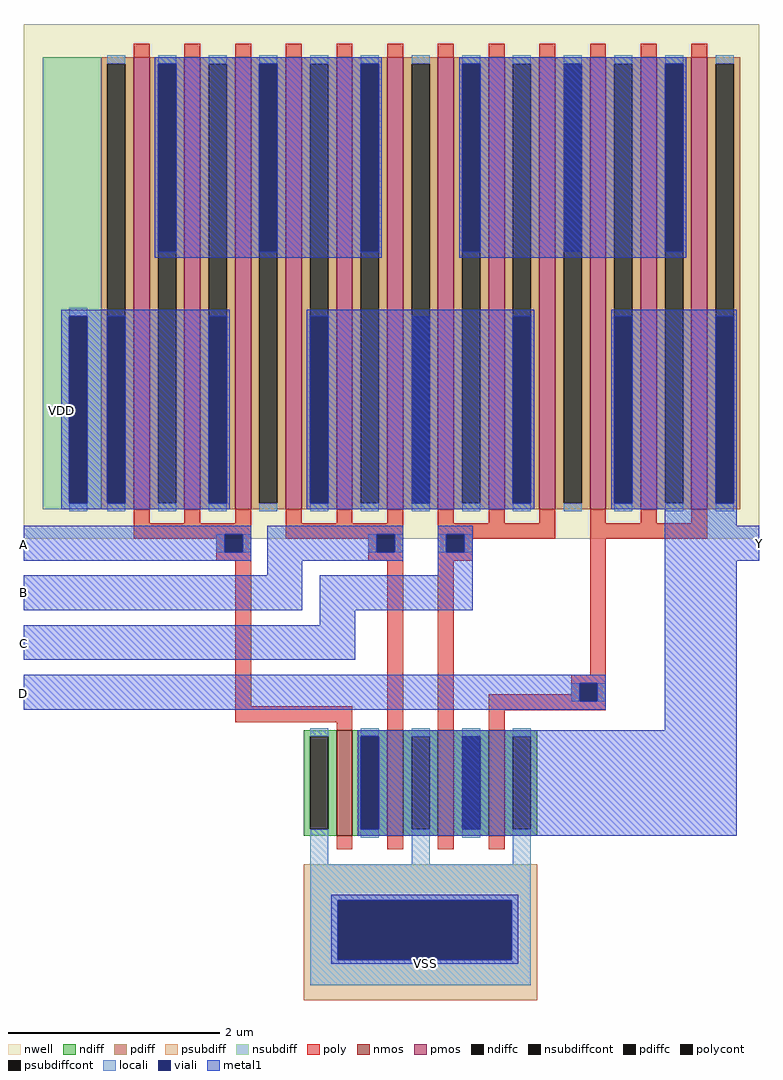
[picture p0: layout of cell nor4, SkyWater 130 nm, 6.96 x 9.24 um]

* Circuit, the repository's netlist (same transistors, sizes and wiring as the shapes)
* NGSPICE file created from nor4.ext - technology: sky130B

.subckt sky130_fd_pr__pfet_01v8_64A2S3 a_n33_n428# a_447_n428# a_n605_n428# a_321_n484#
+ a_n543_n484# a_543_n428# a_159_n428# a_33_n484# a_n255_n484# a_255_n428# w_n641_n484#
+ a_351_n428# a_n417_n428# a_n513_n428# a_n129_n428# a_63_n428# a_n225_n428# a_n321_n428#
X0 a_447_n428# a_321_n484# a_351_n428# w_n641_n484# sky130_fd_pr__pfet_01v8 ad=0.7062 pd=4.61 as=0.7062 ps=4.61 w=4.28 l=0.15
X1 a_n513_n428# a_n543_n484# a_n605_n428# w_n641_n484# sky130_fd_pr__pfet_01v8 ad=0.7062 pd=4.61 as=1.3268 ps=9.18 w=4.28 l=0.15
X2 a_63_n428# a_33_n484# a_n33_n428# w_n641_n484# sky130_fd_pr__pfet_01v8 ad=0.7062 pd=4.61 as=0.7062 ps=4.61 w=4.28 l=0.15
X3 a_n129_n428# a_n255_n484# a_n225_n428# w_n641_n484# sky130_fd_pr__pfet_01v8 ad=0.7062 pd=4.61 as=0.7062 ps=4.61 w=4.28 l=0.15
X4 a_n417_n428# a_n543_n484# a_n513_n428# w_n641_n484# sky130_fd_pr__pfet_01v8 ad=0.7062 pd=4.61 as=0.7062 ps=4.61 w=4.28 l=0.15
X5 a_n33_n428# a_n255_n484# a_n129_n428# w_n641_n484# sky130_fd_pr__pfet_01v8 ad=0.7062 pd=4.61 as=0.7062 ps=4.61 w=4.28 l=0.15
X6 a_351_n428# a_321_n484# a_255_n428# w_n641_n484# sky130_fd_pr__pfet_01v8 ad=0.7062 pd=4.61 as=0.7062 ps=4.61 w=4.28 l=0.15
X7 a_255_n428# a_33_n484# a_159_n428# w_n641_n484# sky130_fd_pr__pfet_01v8 ad=0.7062 pd=4.61 as=0.7062 ps=4.61 w=4.28 l=0.15
X8 a_n321_n428# a_n543_n484# a_n417_n428# w_n641_n484# sky130_fd_pr__pfet_01v8 ad=0.7062 pd=4.61 as=0.7062 ps=4.61 w=4.28 l=0.15
X9 a_543_n428# a_321_n484# a_447_n428# w_n641_n484# sky130_fd_pr__pfet_01v8 ad=1.3268 pd=9.18 as=0.7062 ps=4.61 w=4.28 l=0.15
X10 a_159_n428# a_33_n484# a_63_n428# w_n641_n484# sky130_fd_pr__pfet_01v8 ad=0.7062 pd=4.61 as=0.7062 ps=4.61 w=4.28 l=0.15
X11 a_n225_n428# a_n255_n484# a_n321_n428# w_n641_n484# sky130_fd_pr__pfet_01v8 ad=0.7062 pd=4.61 as=0.7062 ps=4.61 w=4.28 l=0.15
.ends

.subckt sky130_fd_pr__nfet_01v8_S9NJ5Q a_159_n100# a_n159_n126# a_33_n126# a_n129_n100#
+ a_n221_n100# a_63_n100# a_n63_n126# a_n33_n100# a_129_n126# VSUBS
X0 a_n129_n100# a_n159_n126# a_n221_n100# VSUBS sky130_fd_pr__nfet_01v8 ad=0.165 pd=1.33 as=0.31 ps=2.62 w=1 l=0.15
X1 a_63_n100# a_33_n126# a_n33_n100# VSUBS sky130_fd_pr__nfet_01v8 ad=0.165 pd=1.33 as=0.165 ps=1.33 w=1 l=0.15
X2 a_n33_n100# a_n63_n126# a_n129_n100# VSUBS sky130_fd_pr__nfet_01v8 ad=0.165 pd=1.33 as=0.165 ps=1.33 w=1 l=0.15
X3 a_159_n100# a_129_n126# a_63_n100# VSUBS sky130_fd_pr__nfet_01v8 ad=0.31 pd=2.62 as=0.165 ps=1.33 w=1 l=0.15
.ends

.subckt nor4 A B C D VSS VDD Y
Xsky130_fd_pr__pfet_01v8_64A2S3_0 m1_n20_1047# m1_268_1523# VDD D A Y m1_n20_1047#
+ C B m1_268_1523# VDD Y VDD m1_n308_1523# m1_n308_1523# m1_268_1523# m1_n20_1047#
+ m1_n308_1523# sky130_fd_pr__pfet_01v8_64A2S3
Xsky130_fd_pr__nfet_01v8_S9NJ5Q_0 VSS A C Y VSS Y B VSS D VSS sky130_fd_pr__nfet_01v8_S9NJ5Q
.ends

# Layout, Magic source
magic
tech sky130B
magscale 1 2
<< nwell >>
rect -602 1489 -492 1966
rect -602 1467 -482 1489
rect -602 1047 -456 1467
rect -602 1023 -461 1047
rect -602 991 -492 1023
<< psubdiff >>
rect -72 307 370 375
rect -72 194 -8 307
rect 322 194 370 307
rect -72 118 370 194
<< nsubdiff >>
rect -566 1413 -456 1903
rect -566 1059 -516 1413
rect -482 1059 -456 1413
rect -566 1047 -456 1059
<< psubdiffcont >>
rect -8 194 322 307
<< nsubdiffcont >>
rect -516 1059 -482 1413
<< poly >>
rect -238 1000 -172 1016
rect -238 966 -222 1000
rect -188 966 -172 1000
rect -238 950 -172 966
rect 50 1000 116 1016
rect 50 966 66 1000
rect 100 966 116 1000
rect 50 950 116 966
rect -202 674 -172 950
rect -202 644 20 674
rect 86 650 116 950
rect 182 1000 248 1016
rect 182 966 198 1000
rect 232 966 248 1000
rect 182 950 248 966
rect 182 650 212 950
rect 470 734 500 991
rect 434 718 500 734
rect 434 697 450 718
rect 278 684 450 697
rect 484 684 500 718
rect 278 667 500 684
rect 278 655 308 667
<< polycont >>
rect -222 966 -188 1000
rect 66 966 100 1000
rect 198 966 232 1000
rect 450 684 484 718
<< locali >>
rect -516 1413 -482 1429
rect -516 1043 -482 1059
rect -238 966 -222 1000
rect -188 966 -172 1000
rect 50 966 66 1000
rect 100 966 116 1000
rect 182 966 198 1000
rect 232 966 248 1000
rect 434 684 450 718
rect 484 684 500 718
rect -60 375 -26 425
rect 132 375 166 425
rect 324 375 358 425
rect -60 307 358 375
rect -60 194 -8 307
rect 322 194 358 307
rect -60 146 358 194
<< viali >>
rect -516 1059 -482 1413
rect -222 966 -188 1000
rect 66 966 100 1000
rect 198 966 232 1000
rect 450 684 484 718
rect -8 194 322 307
<< metal1 >>
rect -308 1523 -162 1903
rect -116 1523 30 1903
rect 268 1523 606 1903
rect -531 1413 -450 1425
rect -531 1059 -516 1413
rect -482 1059 -450 1413
rect -531 1047 -450 1059
rect -404 1047 -258 1425
rect -20 1047 318 1425
rect 556 1047 702 1425
rect 611 1016 748 1047
rect -602 1000 -172 1016
rect -602 966 -222 1000
rect -188 966 -172 1000
rect -602 950 -172 966
rect -141 1000 116 1016
rect -141 966 66 1000
rect 100 966 116 1000
rect -141 950 116 966
rect 182 1000 248 1016
rect 182 966 198 1000
rect 232 966 248 1000
rect -141 922 -75 950
rect 182 922 248 966
rect -602 856 -75 922
rect -42 856 248 922
rect 611 950 790 1016
rect -42 828 25 856
rect -602 762 25 828
rect -602 718 500 734
rect -602 684 450 718
rect 484 684 500 718
rect -602 668 500 684
rect 611 629 748 950
rect 76 429 748 629
rect -20 307 334 317
rect -20 194 -8 307
rect 322 194 334 307
rect -20 187 334 194
use sky130_fd_pr__nfet_01v8_S9NJ5Q  sky130_fd_pr__nfet_01v8_S9NJ5Q_0
transform 1 0 149 0 1 529
box -221 -126 221 126
use sky130_fd_pr__pfet_01v8_64A2S3  sky130_fd_pr__pfet_01v8_64A2S3_0
transform 1 0 149 0 1 1475
box -641 -484 641 491
<< labels >>
rlabel metal1 -602 981 -602 981 3 A
port 6 e
rlabel metal1 -602 889 -602 889 3 B
port 7 e
rlabel metal1 -602 793 -602 793 3 C
port 8 e
rlabel metal1 -602 698 -602 698 3 D
port 9 e
rlabel metal1 158 187 158 187 5 VSS
port 10 s
rlabel metal1 -531 1235 -531 1235 5 VDD
port 11 s
rlabel metal1 790 982 790 982 3 Y
port 12 e
<< end >>

# cell sky130_fd_pr__nfet_01v8_S9NJ5Q: kit device sky130_fd_pr__nfet_01v8, w 1 l 0.15 m 1 nf 4 diffcov 100 polycov 100 guard 0 glc 1 grc 1 gtc 1 gbc 1 tbcov 100 rlcov 100 topc 1 botc 0 poverlap 0 doverlap 1 lmin 0.15 wmin 0.42 compatible {sky130_fd_pr__nfet_01v8 sky130_fd_pr__nfet_01v8_lvt sky130_fd_bs_flash__special_sonosfet_star sky130_fd_pr__nfet_g5v0d10v5 sky130_fd_pr__nfet_05v0_nvt sky130_fd_pr__nfet_03v3_nvt} full_metal 1 viasrc 100 viadrn 100 viagate 0 viagb 0 viagr 0 viagl 0 viagt 0

# cell sky130_fd_pr__pfet_01v8_64A2S3: kit device sky130_fd_pr__pfet_01v8, w 4.28 l 0.15 m 1 nf 12 diffcov 100 polycov 100 guard 0 glc 1 grc 1 gtc 1 gbc 1 tbcov 100 rlcov 100 topc 0 botc 1 poverlap 0 doverlap 1 lmin 0.15 wmin 0.42 compatible {sky130_fd_pr__pfet_01v8 sky130_fd_pr__pfet_01v8_lvt sky130_fd_pr__pfet_01v8_hvt sky130_fd_pr__pfet_g5v0d10v5} full_metal 1 viasrc 100 viadrn 100 viagate 0 viagb 0 viagr 0 viagl 0 viagt 0
